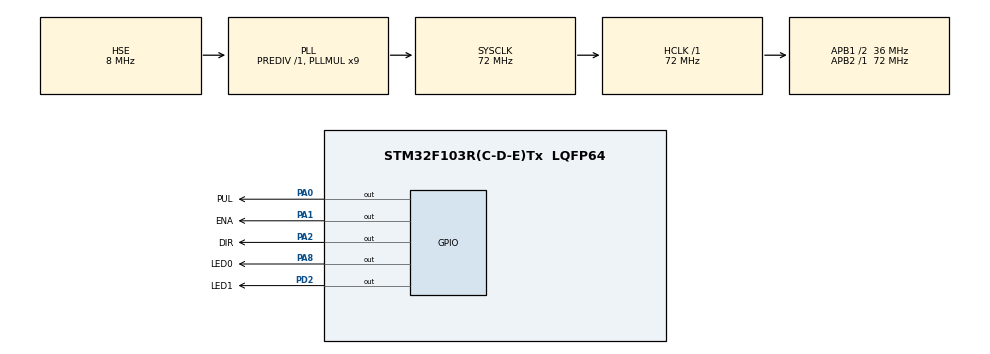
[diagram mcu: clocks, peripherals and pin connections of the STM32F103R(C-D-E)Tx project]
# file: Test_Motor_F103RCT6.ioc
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Mcu.Family=STM32F1
Mcu.Name=STM32F103R(C-D-E)Tx
Mcu.Package=LQFP64
NVIC.PriorityGroup=NVIC_PRIORITYGROUP_4
NVIC.TIM1_UP_IRQn=true\:0\:0\:false\:false\:true\:true\:true\:true
NVIC.TIM2_IRQn=true\:0\:0\:false\:false\:true\:true\:true\:true
PA0-WKUP.GPIO_Label=PUL
PA0-WKUP.Signal=GPIO_Output
PA1.GPIO_Label=ENA
PA1.Signal=GPIO_Output
PA13.Mode=Serial_Wire
PA13.Signal=SYS_JTMS-SWDIO
PA14.Mode=Serial_Wire
PA14.Signal=SYS_JTCK-SWCLK
PA2.GPIO_Label=DIR
PA2.Signal=GPIO_Output
PA8.GPIO_Label=LED0
PA8.Signal=GPIO_Output
PD0-OSC_IN.Mode=HSE-External-Oscillator
PD0-OSC_IN.Signal=RCC_OSC_IN
PD1-OSC_OUT.Mode=HSE-External-Oscillator
PD1-OSC_OUT.Signal=RCC_OSC_OUT
PD2.GPIO_Label=LED1
PD2.Signal=GPIO_Output
ProjectManager.HeapSize=0x200
ProjectManager.StackSize=0x400
ProjectManager.TargetToolchain=MDK-ARM V5.32
RCC.AHBFreq_Value=72000000
RCC.APB1CLKDivider=RCC_HCLK_DIV2
RCC.APB1Freq_Value=36000000
RCC.APB1TimFreq_Value=72000000
RCC.APB2Freq_Value=72000000
RCC.APB2TimFreq_Value=72000000
RCC.HCLKFreq_Value=72000000
RCC.PLLMUL=RCC_PLL_MUL9
RCC.PLLSourceVirtual=RCC_PLLSOURCE_HSE
RCC.SYSCLKFreq_VALUE=72000000
RCC.SYSCLKSource=RCC_SYSCLKSOURCE_PLLCLK
RCC.USBFreq_Value=72000000
TIM1.Period=999
TIM1.Prescaler=71
TIM2.Period=9
TIM2.Prescaler=71
VP_TIM1_VS_ClockSourceINT.Mode=Internal
VP_TIM2_VS_ClockSourceINT.Mode=Internal
board=custom

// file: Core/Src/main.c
/* USER CODE BEGIN Header */
/**
  ******************************************************************************
  * @file           : main.c
  * @brief          : Main program body
  ******************************************************************************
  * @attention
  *
  * Copyright (c) 2024 STMicroelectronics.
  * All rights reserved.
  *
  * This software is licensed under terms that can be found in the LICENSE file
  * in the root directory of this software component.
  * If no LICENSE file comes with this software, it is provided AS-IS.
  *
  ******************************************************************************
  */
/* USER CODE END Header */
#include "main.h"

TIM_HandleTypeDef htim1;
TIM_HandleTypeDef htim2;

/* USER CODE BEGIN PV */
	uint16_t flag_ms = 0;
	uint16_t flag_10us = 0;
	uint16_t flag_w = 0;
	uint16_t w = 10;

/* USER CODE END PV */

void SystemClock_Config(void);
static void MX_GPIO_Init(void);
static void MX_TIM1_Init(void);
static void MX_TIM2_Init(void);

/* USER CODE BEGIN 0 */
	void HAL_TIM_PeriodElapsedCallback(TIM_HandleTypeDef *htim)
		{
			UNUSED(htim);
			//--------------------------------------------------------
			if (htim->Instance == htim1.Instance){ 	// every 1ms
				if(++flag_ms >= 500){
					HAL_GPIO_TogglePin(LED0_GPIO_Port, LED0_Pin);
					flag_ms = 0;
				}
				if(++flag_w >= 10000){
					flag_w = 0;
					w += 50;
					if(w > 160)
						w = 10;
				}

			}
			//--------------------------------------------------------
			if (htim->Instance == htim2.Instance){ 	// every 10us
				if(++flag_10us >= 25){
					//HAL_GPIO_TogglePin(LED1_GPIO_Port, LED1_Pin);
					flag_10us = 0;
					HAL_GPIO_TogglePin(PUL_GPIO_Port, PUL_Pin);
				}

			}
		}

/* USER CODE END 0 */

int main(void)
{

  /* MCU Configuration--------------------------------------------------------*/

  /* Reset of all peripherals, Initializes the Flash interface and the Systick. */
  HAL_Init();

  /* Configure the system clock */
  SystemClock_Config();

  /* Initialize all configured peripherals */
  MX_GPIO_Init();
  MX_TIM1_Init();
  MX_TIM2_Init();
  /* USER CODE BEGIN 2 */
	HAL_GPIO_WritePin(LED0_GPIO_Port, LED0_Pin, GPIO_PIN_SET);
	HAL_GPIO_WritePin(LED1_GPIO_Port, LED1_Pin, GPIO_PIN_SET);

	HAL_TIM_Base_Start_IT(&htim1);
	HAL_TIM_Base_Start_IT(&htim2);

	HAL_GPIO_WritePin(ENA_GPIO_Port, ENA_Pin, GPIO_PIN_SET);
	HAL_GPIO_WritePin(DIR_GPIO_Port, DIR_Pin, GPIO_PIN_RESET);

  /* USER CODE END 2 */

  /* Infinite loop */
  while (1)
  {

    /* USER CODE BEGIN 3 */
//		HAL_GPIO_TogglePin(LED0_GPIO_Port, LED0_Pin);
//		HAL_Delay(100);

  }
  /* USER CODE END 3 */
}

void SystemClock_Config(void)
{
  RCC_OscInitTypeDef RCC_OscInitStruct = {0};
  RCC_ClkInitTypeDef RCC_ClkInitStruct = {0};

  /** Initializes the RCC Oscillators according to the specified parameters
  * in the RCC_OscInitTypeDef structure.
  */
  RCC_OscInitStruct.OscillatorType = RCC_OSCILLATORTYPE_HSE;
  RCC_OscInitStruct.HSEState = RCC_HSE_ON;
  RCC_OscInitStruct.HSEPredivValue = RCC_HSE_PREDIV_DIV1;
  RCC_OscInitStruct.HSIState = RCC_HSI_ON;
  RCC_OscInitStruct.PLL.PLLState = RCC_PLL_ON;
  RCC_OscInitStruct.PLL.PLLSource = RCC_PLLSOURCE_HSE;
  RCC_OscInitStruct.PLL.PLLMUL = RCC_PLL_MUL9;
  if (HAL_RCC_OscConfig(&RCC_OscInitStruct) != HAL_OK)
  {
    Error_Handler();
  }

  /** Initializes the CPU, AHB and APB buses clocks
  */
  RCC_ClkInitStruct.ClockType = RCC_CLOCKTYPE_HCLK|RCC_CLOCKTYPE_SYSCLK
                              |RCC_CLOCKTYPE_PCLK1|RCC_CLOCKTYPE_PCLK2;
  RCC_ClkInitStruct.SYSCLKSource = RCC_SYSCLKSOURCE_PLLCLK;
  RCC_ClkInitStruct.AHBCLKDivider = RCC_SYSCLK_DIV1;
  RCC_ClkInitStruct.APB1CLKDivider = RCC_HCLK_DIV2;
  RCC_ClkInitStruct.APB2CLKDivider = RCC_HCLK_DIV1;

  if (HAL_RCC_ClockConfig(&RCC_ClkInitStruct, FLASH_LATENCY_2) != HAL_OK)
  {
    Error_Handler();
  }
}

static void MX_TIM1_Init(void)
{

  TIM_ClockConfigTypeDef sClockSourceConfig = {0};
  TIM_MasterConfigTypeDef sMasterConfig = {0};

  htim1.Instance = TIM1;
  htim1.Init.Prescaler = 71;
  htim1.Init.CounterMode = TIM_COUNTERMODE_UP;
  htim1.Init.Period = 999;
  htim1.Init.ClockDivision = TIM_CLOCKDIVISION_DIV1;
  htim1.Init.RepetitionCounter = 0;
  htim1.Init.AutoReloadPreload = TIM_AUTORELOAD_PRELOAD_DISABLE;
  if (HAL_TIM_Base_Init(&htim1) != HAL_OK)
  {
    Error_Handler();
  }
  sClockSourceConfig.ClockSource = TIM_CLOCKSOURCE_INTERNAL;
  if (HAL_TIM_ConfigClockSource(&htim1, &sClockSourceConfig) != HAL_OK)
  {
    Error_Handler();
  }
  sMasterConfig.MasterOutputTrigger = TIM_TRGO_RESET;
  sMasterConfig.MasterSlaveMode = TIM_MASTERSLAVEMODE_DISABLE;
  if (HAL_TIMEx_MasterConfigSynchronization(&htim1, &sMasterConfig) != HAL_OK)
  {
    Error_Handler();
  }

}

static void MX_TIM2_Init(void)
{

  TIM_ClockConfigTypeDef sClockSourceConfig = {0};
  TIM_MasterConfigTypeDef sMasterConfig = {0};

  htim2.Instance = TIM2;
  htim2.Init.Prescaler = 71;
  htim2.Init.CounterMode = TIM_COUNTERMODE_UP;
  htim2.Init.Period = 9;
  htim2.Init.ClockDivision = TIM_CLOCKDIVISION_DIV1;
  htim2.Init.AutoReloadPreload = TIM_AUTORELOAD_PRELOAD_DISABLE;
  if (HAL_TIM_Base_Init(&htim2) != HAL_OK)
  {
    Error_Handler();
  }
  sClockSourceConfig.ClockSource = TIM_CLOCKSOURCE_INTERNAL;
  if (HAL_TIM_ConfigClockSource(&htim2, &sClockSourceConfig) != HAL_OK)
  {
    Error_Handler();
  }
  sMasterConfig.MasterOutputTrigger = TIM_TRGO_RESET;
  sMasterConfig.MasterSlaveMode = TIM_MASTERSLAVEMODE_DISABLE;
  if (HAL_TIMEx_MasterConfigSynchronization(&htim2, &sMasterConfig) != HAL_OK)
  {
    Error_Handler();
  }

}

static void MX_GPIO_Init(void)
{
  GPIO_InitTypeDef GPIO_InitStruct = {0};

  /* GPIO Ports Clock Enable */
  __HAL_RCC_GPIOD_CLK_ENABLE();
  __HAL_RCC_GPIOA_CLK_ENABLE();

  /*Configure GPIO pin Output Level */
  HAL_GPIO_WritePin(GPIOA, PUL_Pin|ENA_Pin|DIR_Pin|LED0_Pin, GPIO_PIN_RESET);

  /*Configure GPIO pin Output Level */
  HAL_GPIO_WritePin(LED1_GPIO_Port, LED1_Pin, GPIO_PIN_RESET);

  /*Configure GPIO pins : PUL_Pin ENA_Pin DIR_Pin LED0_Pin */
  GPIO_InitStruct.Pin = PUL_Pin|ENA_Pin|DIR_Pin|LED0_Pin;
  GPIO_InitStruct.Mode = GPIO_MODE_OUTPUT_PP;
  GPIO_InitStruct.Pull = GPIO_NOPULL;
  GPIO_InitStruct.Speed = GPIO_SPEED_FREQ_LOW;
  HAL_GPIO_Init(GPIOA, &GPIO_InitStruct);

  /*Configure GPIO pin : LED1_Pin */
  GPIO_InitStruct.Pin = LED1_Pin;
  GPIO_InitStruct.Mode = GPIO_MODE_OUTPUT_PP;
  GPIO_InitStruct.Pull = GPIO_NOPULL;
  GPIO_InitStruct.Speed = GPIO_SPEED_FREQ_LOW;
  HAL_GPIO_Init(LED1_GPIO_Port, &GPIO_InitStruct);

}

void Error_Handler(void)
{
  __disable_irq();
  while (1)
  {
  }
}
